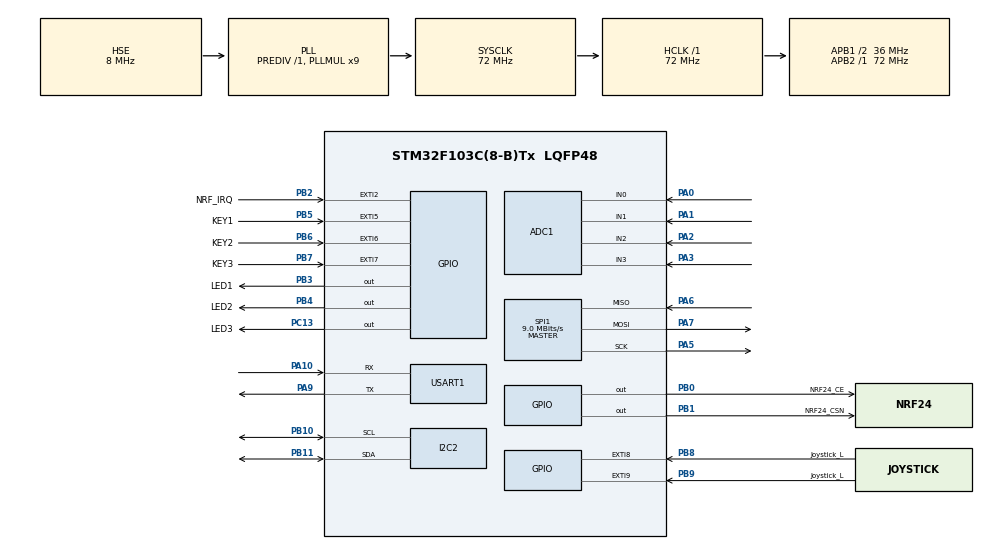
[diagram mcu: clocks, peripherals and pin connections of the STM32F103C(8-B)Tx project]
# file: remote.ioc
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ADC1.Channel-0\#ChannelRegularConversion=ADC_CHANNEL_0
ADC1.NbrOfConversionFlag=1
ADC1.Rank-0\#ChannelRegularConversion=1
ADC1.SamplingTime-0\#ChannelRegularConversion=ADC_SAMPLETIME_1CYCLE_5
ADC1.master=1
Dma.ADC1.0.Direction=DMA_PERIPH_TO_MEMORY
Dma.ADC1.0.Instance=DMA1_Channel1
Dma.ADC1.0.MemDataAlignment=DMA_MDATAALIGN_HALFWORD
Dma.ADC1.0.MemInc=DMA_MINC_ENABLE
Dma.ADC1.0.Mode=DMA_CIRCULAR
Dma.ADC1.0.PeriphDataAlignment=DMA_PDATAALIGN_HALFWORD
Dma.ADC1.0.PeriphInc=DMA_PINC_DISABLE
Dma.ADC1.0.Priority=DMA_PRIORITY_MEDIUM
Dma.Request0=ADC1
FREERTOS.Tasks01=defaultTask,24,128,StartDefaultTask,Default,NULL,Dynamic,NULL,NULL
Mcu.Family=STM32F1
Mcu.Name=STM32F103C(8-B)Tx
Mcu.Package=LQFP48
NVIC.ADC1_2_IRQn=true\:5\:0\:false\:false\:true\:true\:true\:true\:true
NVIC.DMA1_Channel1_IRQn=true\:5\:0\:false\:false\:true\:true\:false\:true\:true
NVIC.EXTI2_IRQn=true\:5\:0\:false\:false\:true\:true\:true\:true\:true
NVIC.EXTI9_5_IRQn=true\:5\:0\:false\:false\:true\:true\:true\:true\:true
NVIC.PriorityGroup=NVIC_PRIORITYGROUP_4
NVIC.SPI1_IRQn=true\:5\:0\:false\:false\:true\:true\:true\:true\:true
NVIC.TIM1_UP_IRQn=true\:15\:0\:false\:false\:true\:false\:false\:true\:true
NVIC.TimeBase=TIM1_UP_IRQn
NVIC.TimeBaseIP=TIM1
NVIC.USART1_IRQn=true\:5\:0\:false\:false\:true\:true\:true\:true\:true
PA0-WKUP.Signal=ADCx_IN0
PA1.Signal=ADCx_IN1
PA10.Mode=Asynchronous
PA10.Signal=USART1_RX
PA13.Mode=Serial_Wire
PA13.Signal=SYS_JTMS-SWDIO
PA14.Mode=Serial_Wire
PA14.Signal=SYS_JTCK-SWCLK
PA2.Signal=ADCx_IN2
PA3.Signal=ADCx_IN3
PA5.Mode=Full_Duplex_Master
PA5.Signal=SPI1_SCK
PA6.Mode=Full_Duplex_Master
PA6.Signal=SPI1_MISO
PA7.Mode=Full_Duplex_Master
PA7.Signal=SPI1_MOSI
PA9.Mode=Asynchronous
PA9.Signal=USART1_TX
PB0.GPIO_Label=NRF24_CE
PB0.Signal=GPIO_Output
PB1.GPIO_Label=NRF24_CSN
PB1.Signal=GPIO_Output
PB10.Mode=I2C
PB10.Signal=I2C2_SCL
PB11.Mode=I2C
PB11.Signal=I2C2_SDA
PB2.GPIO_Label=NRF_IRQ
PB2.Signal=GPXTI2
PB3.GPIO_Label=LED1
PB3.Signal=GPIO_Output
PB4.GPIO_Label=LED2
PB4.Signal=GPIO_Output
PB5.GPIO_Label=KEY1
PB5.Signal=GPXTI5
PB6.GPIO_Label=KEY2
PB6.Signal=GPXTI6
PB7.GPIO_Label=KEY3
PB7.Signal=GPXTI7
PB8.GPIO_Label=Joystick_L
PB8.Signal=GPXTI8
PB9.GPIO_Label=Joystick_L
PB9.Signal=GPXTI9
PC13-TAMPER-RTC.GPIO_Label=LED3
PC13-TAMPER-RTC.Signal=GPIO_Output
PC14-OSC32_IN.Mode=LSE-External-Oscillator
PC14-OSC32_IN.Signal=RCC_OSC32_IN
PC15-OSC32_OUT.Mode=LSE-External-Oscillator
PC15-OSC32_OUT.Signal=RCC_OSC32_OUT
PD0-OSC_IN.Mode=HSE-External-Oscillator
PD0-OSC_IN.Signal=RCC_OSC_IN
PD1-OSC_OUT.Mode=HSE-External-Oscillator
PD1-OSC_OUT.Signal=RCC_OSC_OUT
ProjectManager.HeapSize=0x200
ProjectManager.StackSize=0x400
ProjectManager.TargetToolchain=MDK-ARM V5.32
RCC.AHBFreq_Value=72000000
RCC.APB1CLKDivider=RCC_HCLK_DIV2
RCC.APB1Freq_Value=36000000
RCC.APB1TimFreq_Value=72000000
RCC.APB2Freq_Value=72000000
RCC.APB2TimFreq_Value=72000000
RCC.HCLKFreq_Value=72000000
RCC.PLLMUL=RCC_PLL_MUL9
RCC.PLLSourceVirtual=RCC_PLLSOURCE_HSE
RCC.SYSCLKFreq_VALUE=72000000
RCC.SYSCLKSource=RCC_SYSCLKSOURCE_PLLCLK
RCC.USBFreq_Value=72000000
RTC.AutoPrediv=0
RTC.Format=RTC_FORMAT_BIN
SH.ADCx_IN0.0=ADC1_IN0,IN0
SH.ADCx_IN1.0=ADC1_IN1,IN1
SH.ADCx_IN2.0=ADC1_IN2,IN2
SH.ADCx_IN3.0=ADC1_IN3,IN3
SPI1.BaudRatePrescaler=SPI_BAUDRATEPRESCALER_8
SPI1.CalculateBaudRate=9.0 MBits/s
SPI1.Direction=SPI_DIRECTION_2LINES
SPI1.Mode=SPI_MODE_MASTER
SPI1.VirtualType=VM_MASTER
USART1.VirtualMode=VM_ASYNC
VP_FREERTOS_VS_CMSIS_V2.Mode=CMSIS_V2
VP_RTC_VS_RTC_Activate.Mode=RTC_Enabled
VP_RTC_VS_RTC_Calendar.Mode=RTC_Calendar
VP_SYS_VS_tim1.Mode=TIM1
board=custom

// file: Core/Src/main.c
/* USER CODE BEGIN Header */
/**
  ******************************************************************************
  * @file           : main.c
  * @brief          : Main program body
  ******************************************************************************
  * @attention
  *
  * <h2><center>&copy; Copyright (c) 2021 STMicroelectronics.
  * All rights reserved.</center></h2>
  *
  * This software component is licensed by ST under Ultimate Liberty license
  * SLA0044, the "License"; You may not use this file except in compliance with
  * the License. You may obtain a copy of the License at:
  *                             www.st.com/SLA0044
  *
  ******************************************************************************
  */
/* USER CODE END Header */
#include "main.h"
#include "cmsis_os.h"
#include "adc.h"
#include "dma.h"
#include "i2c.h"
#include "rtc.h"
#include "spi.h"
#include "usart.h"
#include "gpio.h"

/* USER CODE BEGIN Includes */
#include "management.h"
/* USER CODE END Includes */

void SystemClock_Config(void);
void MX_FREERTOS_Init(void);

int main(void)
{

  /* MCU Configuration--------------------------------------------------------*/

  /* Reset of all peripherals, Initializes the Flash interface and the Systick. */
  HAL_Init();

  /* Configure the system clock */
  SystemClock_Config();

  /* Initialize all configured peripherals */
  MX_GPIO_Init();
  MX_DMA_Init();
  MX_ADC1_Init();
  MX_I2C2_Init();
  MX_RTC_Init();
  MX_SPI1_Init();
  MX_USART1_UART_Init();
  /* USER CODE BEGIN 2 */
	HardWare_Init();
  /* USER CODE END 2 */

  /* Init scheduler */
  osKernelInitialize();  /* Call init function for freertos objects (in freertos.c) */
  MX_FREERTOS_Init();

  /* Start scheduler */
  osKernelStart();
  /* We should never get here as control is now taken by the scheduler */
  /* Infinite loop */
  while (1)
  {

  }
}

void SystemClock_Config(void)
{
  RCC_OscInitTypeDef RCC_OscInitStruct = {0};
  RCC_ClkInitTypeDef RCC_ClkInitStruct = {0};
  RCC_PeriphCLKInitTypeDef PeriphClkInit = {0};

  /** Initializes the RCC Oscillators according to the specified parameters
  * in the RCC_OscInitTypeDef structure.
  */
  RCC_OscInitStruct.OscillatorType = RCC_OSCILLATORTYPE_LSI|RCC_OSCILLATORTYPE_HSE;
  RCC_OscInitStruct.HSEState = RCC_HSE_ON;
  RCC_OscInitStruct.HSEPredivValue = RCC_HSE_PREDIV_DIV1;
  RCC_OscInitStruct.HSIState = RCC_HSI_ON;
  RCC_OscInitStruct.LSIState = RCC_LSI_ON;
  RCC_OscInitStruct.PLL.PLLState = RCC_PLL_ON;
  RCC_OscInitStruct.PLL.PLLSource = RCC_PLLSOURCE_HSE;
  RCC_OscInitStruct.PLL.PLLMUL = RCC_PLL_MUL9;
  if (HAL_RCC_OscConfig(&RCC_OscInitStruct) != HAL_OK)
  {
    Error_Handler();
  }

  /** Initializes the CPU, AHB and APB buses clocks
  */
  RCC_ClkInitStruct.ClockType = RCC_CLOCKTYPE_HCLK|RCC_CLOCKTYPE_SYSCLK
                              |RCC_CLOCKTYPE_PCLK1|RCC_CLOCKTYPE_PCLK2;
  RCC_ClkInitStruct.SYSCLKSource = RCC_SYSCLKSOURCE_PLLCLK;
  RCC_ClkInitStruct.AHBCLKDivider = RCC_SYSCLK_DIV1;
  RCC_ClkInitStruct.APB1CLKDivider = RCC_HCLK_DIV2;
  RCC_ClkInitStruct.APB2CLKDivider = RCC_HCLK_DIV1;

  if (HAL_RCC_ClockConfig(&RCC_ClkInitStruct, FLASH_LATENCY_2) != HAL_OK)
  {
    Error_Handler();
  }
  PeriphClkInit.PeriphClockSelection = RCC_PERIPHCLK_RTC|RCC_PERIPHCLK_ADC;
  PeriphClkInit.RTCClockSelection = RCC_RTCCLKSOURCE_LSI;
  PeriphClkInit.AdcClockSelection = RCC_ADCPCLK2_DIV2;
  if (HAL_RCCEx_PeriphCLKConfig(&PeriphClkInit) != HAL_OK)
  {
    Error_Handler();
  }
}

void HAL_TIM_PeriodElapsedCallback(TIM_HandleTypeDef *htim)
{
  if (htim->Instance == TIM1) {
    HAL_IncTick();
  }
}

void Error_Handler(void)
{
  __disable_irq();
  while (1)
  {
  }
}

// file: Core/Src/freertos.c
/* USER CODE BEGIN Header */
/**
  ******************************************************************************
  * File Name          : freertos.c
  * Description        : Code for freertos applications
  ******************************************************************************
  * @attention
  *
  * <h2><center>&copy; Copyright (c) 2021 STMicroelectronics.
  * All rights reserved.</center></h2>
  *
  * This software component is licensed by ST under Ultimate Liberty license
  * SLA0044, the "License"; You may not use this file except in compliance with
  * the License. You may obtain a copy of the License at:
  *                             www.st.com/SLA0044
  *
  ******************************************************************************
  */
/* USER CODE END Header */

#include "FreeRTOS.h"
#include "task.h"
#include "main.h"
#include "cmsis_os.h"

/* USER CODE BEGIN Includes */
#include "24l01.h"
#include "stdio.h"
#include "radiolink.h"
#include "remoter_ctrl.h"
#include "oled.h"
/* USER CODE END Includes */

/* Definitions for MainTask */
osThreadId_t MainTaskHandle;
const osThreadAttr_t MainTask_attributes = {
  .name = "MainTask",
  .stack_size = 128 * 4,
  .priority = (osPriority_t) osPriorityHigh7,
};
/* Definitions for Radiolink */
osThreadId_t RadiolinkHandle;
const osThreadAttr_t Radiolink_attributes = {
  .name = "Radiolink",
  .stack_size = 128 * 4,
  .priority = (osPriority_t) osPriorityBelowNormal1,
};
/* Definitions for Commandersend */
osThreadId_t CommandersendHandle;
const osThreadAttr_t Commandersend_attributes = {
  .name = "Commandersend",
  .stack_size = 128 * 4,
  .priority = (osPriority_t) osPriorityNormal2,
};
/* Definitions for txQueue */
osMessageQueueId_t txQueueHandle;
const osMessageQueueAttr_t txQueue_attributes = {
  .name = "txQueue"
};
/* Definitions for nrfIT */
osSemaphoreId_t nrfITHandle;
const osSemaphoreAttr_t nrfIT_attributes = {
  .name = "nrfIT"
};
/* Definitions for REM_StatusFlag */
osEventFlagsId_t REM_StatusFlagHandle;
const osEventFlagsAttr_t REM_StatusFlag_attributes = {
  .name = "REM_StatusFlag"
};

void StartDefaultTask(void *argument);
void RadioLink(void *argument);
void CommanderSend(void *argument);

void MX_FREERTOS_Init(void); /* (MISRA C 2004 rule 8.1) */

void MX_FREERTOS_Init(void) {

  /* Create the semaphores(s) */
  /* creation of nrfIT */
  nrfITHandle = osSemaphoreNew(1, 1, &nrfIT_attributes);

  /* Create the queue(s) */
  /* creation of txQueue */
  txQueueHandle = osMessageQueueNew (10, 12, &txQueue_attributes);

  /* Create the thread(s) */
  /* creation of MainTask */
  MainTaskHandle = osThreadNew(StartDefaultTask, NULL, &MainTask_attributes);

  /* creation of Radiolink */
  RadiolinkHandle = osThreadNew(RadioLink, NULL, &Radiolink_attributes);

  /* creation of Commandersend */
  CommandersendHandle = osThreadNew(CommanderSend, NULL, &Commandersend_attributes);

  /* Create the event(s) */
  /* creation of REM_StatusFlag */
  REM_StatusFlagHandle = osEventFlagsNew(&REM_StatusFlag_attributes);

}

void StartDefaultTask(void *argument)
{
  /* USER CODE BEGIN StartDefaultTask */
	Management_Prepare();
  /* Infinite loop */
  for(;;)
  {
        LED3_Tog();
		LED2_Tog();
		LED1_Tog();
		Task_Management();
    osDelay(1000);
  }
  /* USER CODE END StartDefaultTask */
}

void RadioLink(void *argument)
{
  /* USER CODE BEGIN RadioLink */
  /* Infinite loop */
  for(;;)
  {
    radiolinkTask();
		osDelay(10);
  }
  /* USER CODE END RadioLink */
}

void CommanderSend(void *argument)
{
  /* USER CODE BEGIN CommanderSend */
  /* Infinite loop */
  for(;;)
  {
		commanderTask();
    osDelay(10);
  }
  /* USER CODE END CommanderSend */
}
		//��������������������ͬʱ���к���

/************************ (C) COPYRIGHT STMicroelectronics *****END OF FILE****/
